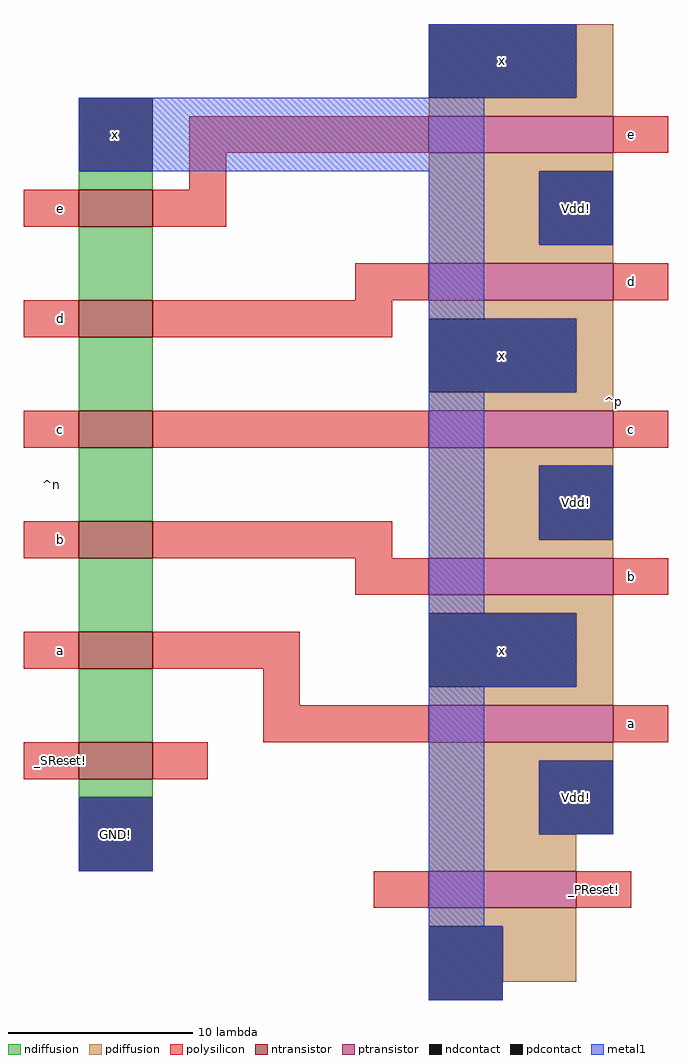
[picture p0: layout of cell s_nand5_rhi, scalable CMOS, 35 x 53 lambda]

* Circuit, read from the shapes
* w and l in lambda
.subckt s_nand5_rhi GND! Vdd! _PReset! _SReset! a b c d e x
M1 n1 _SReset! GND! VSUBS nfet w=4 l=2
M2 n2 a n1 VSUBS nfet w=4 l=2
M3 n3 b n2 VSUBS nfet w=4 l=2
M4 n4 c n3 VSUBS nfet w=4 l=2
M5 n5 d n4 VSUBS nfet w=4 l=2
M6 x e n5 VSUBS nfet w=4 l=2
M7 Vdd! _PReset! x NWELL pfet w=8 l=2
M8 x a Vdd! NWELL pfet w=10 l=2
M9 Vdd! b x NWELL pfet w=10 l=2
M10 x c Vdd! NWELL pfet w=10 l=2
M11 Vdd! d x NWELL pfet w=10 l=2
M12 x e Vdd! NWELL pfet w=10 l=2
.ends

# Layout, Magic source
magic
tech scmos
<< ndiffusion >>
rect -24 71 -20 72
rect -24 65 -20 69
rect -24 59 -20 63
rect -24 53 -20 57
rect -24 47 -20 51
rect -24 41 -20 45
rect -24 38 -20 39
<< pdiffusion >>
rect 3 76 5 80
rect -5 75 5 76
rect -5 72 5 73
rect -5 68 1 72
rect -5 67 5 68
rect -5 64 5 65
rect 3 60 5 64
rect -5 59 5 60
rect -5 56 5 57
rect -5 52 1 56
rect -5 51 5 52
rect -5 48 5 49
rect 3 44 5 48
rect -5 43 5 44
rect -5 40 5 41
rect -5 36 1 40
rect -5 34 3 36
rect -5 31 3 32
rect -1 28 3 31
<< ntransistor >>
rect -24 69 -20 71
rect -24 63 -20 65
rect -24 57 -20 59
rect -24 51 -20 53
rect -24 45 -20 47
rect -24 39 -20 41
<< ptransistor >>
rect -5 73 5 75
rect -5 65 5 67
rect -5 57 5 59
rect -5 49 5 51
rect -5 41 5 43
rect -5 32 3 34
<< polysilicon >>
rect -18 73 -5 75
rect 5 73 8 75
rect -18 71 -16 73
rect -27 69 -24 71
rect -20 69 -16 71
rect -9 65 -5 67
rect 5 65 8 67
rect -27 63 -24 65
rect -20 63 -7 65
rect -27 57 -24 59
rect -20 57 -5 59
rect 5 57 8 59
rect -27 51 -24 53
rect -20 51 -7 53
rect -9 49 -5 51
rect 5 49 8 51
rect -27 45 -24 47
rect -20 45 -12 47
rect -14 43 -12 45
rect -14 41 -5 43
rect 5 41 8 43
rect -27 39 -24 41
rect -20 39 -17 41
rect -8 32 -5 34
rect 3 32 6 34
<< ndcontact >>
rect -24 72 -20 76
rect -24 34 -20 38
<< pdcontact >>
rect -5 76 3 80
rect 1 68 5 72
rect -5 60 3 64
rect 1 52 5 56
rect -5 44 3 48
rect 1 36 5 40
rect -5 27 -1 31
<< metal1 >>
rect -5 76 3 80
rect -24 72 -2 76
rect -5 64 -2 72
rect 1 68 5 72
rect -5 60 3 64
rect -5 48 -2 60
rect 1 52 5 56
rect -5 44 3 48
rect -24 34 -20 38
rect -5 31 -2 44
rect 1 36 5 40
rect -5 27 -1 31
<< labels >>
rlabel space 2 38 8 81 3 ^p
rlabel polysilicon 6 74 6 74 3 e
rlabel polysilicon 6 66 6 66 3 d
rlabel polysilicon 6 58 6 58 3 c
rlabel polysilicon 6 50 6 50 3 b
rlabel polysilicon 6 42 6 42 3 a
rlabel polysilicon -25 40 -25 40 3 _SReset!
rlabel space -27 34 -24 76 7 ^n
rlabel polysilicon -25 70 -25 70 3 e
rlabel polysilicon -25 46 -25 46 3 a
rlabel polysilicon -25 52 -25 52 3 b
rlabel polysilicon -25 58 -25 58 3 c
rlabel polysilicon -25 64 -25 64 3 d
rlabel polysilicon 4 33 4 33 8 _PReset!
rlabel pdcontact 3 54 3 54 1 Vdd!
rlabel pdcontact 3 70 3 70 5 Vdd!
rlabel pdcontact -1 62 -1 62 5 x
rlabel pdcontact -1 46 -1 46 5 x
rlabel pdcontact -1 78 -1 78 5 x
rlabel pdcontact 3 38 3 38 1 Vdd!
rlabel ndcontact -22 36 -22 36 5 GND!
rlabel ndcontact -22 74 -22 74 4 x
<< end >>
